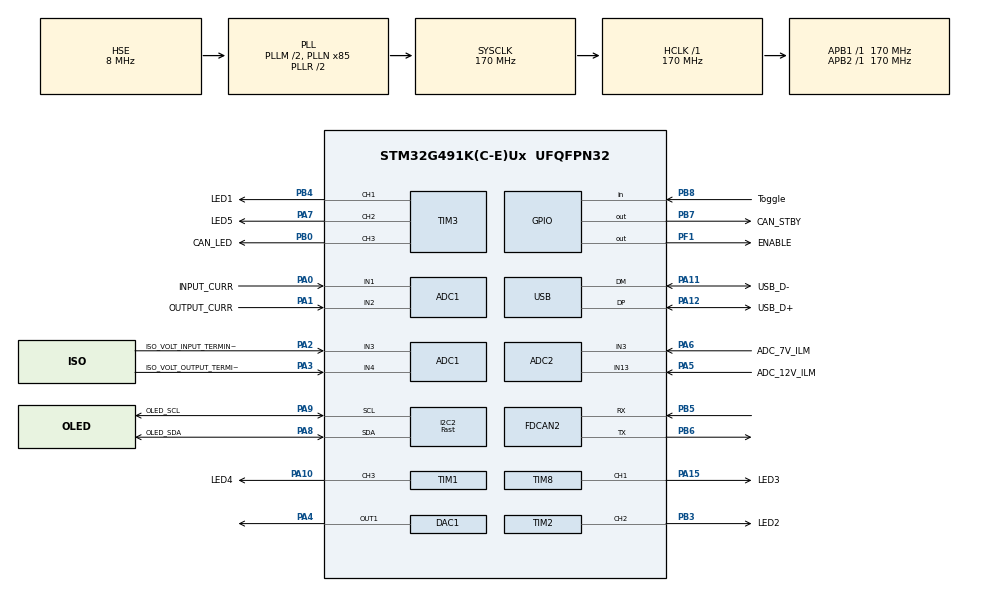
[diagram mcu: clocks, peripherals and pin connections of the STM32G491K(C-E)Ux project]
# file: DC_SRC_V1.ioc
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ADC1.Channel-2\#ChannelRegularConversion=ADC_CHANNEL_1
ADC1.Channel-3\#ChannelRegularConversion=ADC_CHANNEL_2
ADC1.Channel-4\#ChannelRegularConversion=ADC_CHANNEL_3
ADC1.Channel-5\#ChannelRegularConversion=ADC_CHANNEL_4
ADC1.ClockPrescaler=ADC_CLOCK_ASYNC_DIV64
ADC1.ContinuousConvMode=ENABLE
ADC1.DMAContinuousRequests=ENABLE
ADC1.EOCSelection=ADC_EOC_SEQ_CONV
ADC1.NbrOfConversion=4
ADC1.NbrOfConversionFlag=1
ADC1.OffsetNumber-2\#ChannelRegularConversion=ADC_OFFSET_NONE
ADC1.OffsetNumber-3\#ChannelRegularConversion=ADC_OFFSET_NONE
ADC1.OffsetNumber-4\#ChannelRegularConversion=ADC_OFFSET_NONE
ADC1.OffsetNumber-5\#ChannelRegularConversion=ADC_OFFSET_NONE
ADC1.Overrun=ADC_OVR_DATA_OVERWRITTEN
ADC1.Rank-2\#ChannelRegularConversion=1
ADC1.Rank-3\#ChannelRegularConversion=2
ADC1.Rank-4\#ChannelRegularConversion=3
ADC1.Rank-5\#ChannelRegularConversion=4
ADC1.SamplingTime-2\#ChannelRegularConversion=ADC_SAMPLETIME_2CYCLES_5
ADC1.SamplingTime-3\#ChannelRegularConversion=ADC_SAMPLETIME_2CYCLES_5
ADC1.SamplingTime-4\#ChannelRegularConversion=ADC_SAMPLETIME_2CYCLES_5
ADC1.SamplingTime-5\#ChannelRegularConversion=ADC_SAMPLETIME_2CYCLES_5
ADC1.master=1
ADC2.Channel-1\#ChannelRegularConversion=ADC_CHANNEL_3
ADC2.Channel-2\#ChannelRegularConversion=ADC_CHANNEL_13
ADC2.ClockPrescaler=ADC_CLOCK_ASYNC_DIV64
ADC2.ContinuousConvMode=ENABLE
ADC2.DMAContinuousRequests=ENABLE
ADC2.NbrOfConversion=2
ADC2.NbrOfConversionFlag=1
ADC2.OffsetNumber-1\#ChannelRegularConversion=ADC_OFFSET_NONE
ADC2.OffsetNumber-2\#ChannelRegularConversion=ADC_OFFSET_NONE
ADC2.Rank-1\#ChannelRegularConversion=1
ADC2.Rank-2\#ChannelRegularConversion=2
ADC2.SamplingTime-1\#ChannelRegularConversion=ADC_SAMPLETIME_24CYCLES_5
ADC2.SamplingTime-2\#ChannelRegularConversion=ADC_SAMPLETIME_24CYCLES_5
Dma.ADC1.0.Direction=DMA_PERIPH_TO_MEMORY
Dma.ADC1.0.EventEnable=DISABLE
Dma.ADC1.0.Instance=DMA1_Channel1
Dma.ADC1.0.MemDataAlignment=DMA_MDATAALIGN_WORD
Dma.ADC1.0.MemInc=DMA_MINC_ENABLE
Dma.ADC1.0.Mode=DMA_CIRCULAR
Dma.ADC1.0.PeriphDataAlignment=DMA_PDATAALIGN_WORD
Dma.ADC1.0.PeriphInc=DMA_PINC_DISABLE
Dma.ADC1.0.Polarity=HAL_DMAMUX_REQ_GEN_RISING
Dma.ADC1.0.Priority=DMA_PRIORITY_LOW
Dma.ADC1.0.RequestNumber=1
Dma.ADC1.0.SignalID=NONE
Dma.ADC1.0.SyncEnable=DISABLE
Dma.ADC1.0.SyncPolarity=HAL_DMAMUX_SYNC_NO_EVENT
Dma.ADC1.0.SyncRequestNumber=1
Dma.ADC1.0.SyncSignalID=NONE
Dma.ADC2.1.Direction=DMA_PERIPH_TO_MEMORY
Dma.ADC2.1.EventEnable=DISABLE
Dma.ADC2.1.Instance=DMA1_Channel2
Dma.ADC2.1.MemDataAlignment=DMA_MDATAALIGN_WORD
Dma.ADC2.1.MemInc=DMA_MINC_ENABLE
Dma.ADC2.1.Mode=DMA_CIRCULAR
Dma.ADC2.1.PeriphDataAlignment=DMA_PDATAALIGN_HALFWORD
Dma.ADC2.1.PeriphInc=DMA_PINC_DISABLE
Dma.ADC2.1.Polarity=HAL_DMAMUX_REQ_GEN_RISING
Dma.ADC2.1.Priority=DMA_PRIORITY_LOW
Dma.ADC2.1.RequestNumber=1
Dma.ADC2.1.SignalID=NONE
Dma.ADC2.1.SyncEnable=DISABLE
Dma.ADC2.1.SyncPolarity=HAL_DMAMUX_SYNC_NO_EVENT
Dma.ADC2.1.SyncRequestNumber=1
Dma.ADC2.1.SyncSignalID=NONE
Dma.I2C2_TX.2.Direction=DMA_MEMORY_TO_PERIPH
Dma.I2C2_TX.2.EventEnable=DISABLE
Dma.I2C2_TX.2.Instance=DMA1_Channel3
Dma.I2C2_TX.2.MemDataAlignment=DMA_MDATAALIGN_BYTE
Dma.I2C2_TX.2.MemInc=DMA_MINC_ENABLE
Dma.I2C2_TX.2.Mode=DMA_CIRCULAR
Dma.I2C2_TX.2.PeriphDataAlignment=DMA_PDATAALIGN_BYTE
Dma.I2C2_TX.2.PeriphInc=DMA_PINC_DISABLE
Dma.I2C2_TX.2.Polarity=HAL_DMAMUX_REQ_GEN_RISING
Dma.I2C2_TX.2.Priority=DMA_PRIORITY_LOW
Dma.I2C2_TX.2.RequestNumber=1
Dma.I2C2_TX.2.SignalID=NONE
Dma.I2C2_TX.2.SyncEnable=DISABLE
Dma.I2C2_TX.2.SyncPolarity=HAL_DMAMUX_SYNC_NO_EVENT
Dma.I2C2_TX.2.SyncRequestNumber=1
Dma.I2C2_TX.2.SyncSignalID=NONE
Dma.Request0=ADC1
Dma.Request1=ADC2
Dma.Request2=I2C2_TX
FDCAN2.AutoRetransmission=ENABLE
FDCAN2.CalculateBaudRateNominal=1000000
FDCAN2.CalculateTimeBitNominal=1000
FDCAN2.CalculateTimeQuantumNominal=125.0
FDCAN2.DataTimeSeg2=2
FDCAN2.FrameFormat=FDCAN_FRAME_FD_BRS
FDCAN2.Mode=FDCAN_MODE_EXTERNAL_LOOPBACK
FDCAN2.NominalPrescaler=1
FDCAN2.NominalSyncJumpWidth=2
FDCAN2.NominalTimeSeg1=5
FDCAN2.NominalTimeSeg2=2
FDCAN2.StdFiltersNbr=1
FREERTOS.Queues01=canQueueRxHeader,512,uint32_t,0,Static,canQueueRxHeaderBuffer,canQueueRxHeaderControlBlock;canQueueRxData,512,uint8_t,0,Static,canQueueRxDataBuffer,canQueueRxDataControlBlock
FREERTOS.Tasks01=defaultTask,24,512,StartDefaultTask,Default,NULL,Static,defaultTaskBuffer,defaultTaskControlBlock;canSendMsg,24,512,StartCanSend,Default,NULL,Static,canSendMsgBuffer,canSendMsgControlBlock;canRecieveMsg,24,512,StartRecieveMsg,Default,NULL,Static,canRecieveMsgBuffer,canRecieveMsgControlBlock;adcConvTask,24,512,StartAdcConv,Default,NULL,Static,adcConvTaskBuffer,adcConvTaskControlBlock;ScreenPrintTask,24,512,startScreenPrint,Default,NULL,Static,ScreenPrintHandBuffer,ScreenPrintHandControlBlock;TRKPinTask,24,512,StartTRKPin,Default,NULL,Static,TRKPinTaskBuffer,TRKPinTaskControlBlock;StatusLEDHandle,24,512,StartStatusLED,Default,NULL,Static,StatusLEDHandleBuffer,StatusLEDHandleControlBlock
FREERTOS.configENABLE_FPU=1
FREERTOS.configUSE_NEWLIB_REENTRANT=1
I2C2.CustomTiming=Disabled
I2C2.I2C_Speed_Mode=I2C_Fast
I2C2.Timing=0x40621236
Mcu.Family=STM32G4
Mcu.Name=STM32G491K(C-E)Ux
Mcu.Package=UFQFPN32
NVIC.FDCAN2_IT0_IRQn=true\:5\:0\:false\:false\:true\:true\:true\:true\:true
NVIC.FDCAN2_IT1_IRQn=true\:5\:0\:false\:false\:true\:true\:true\:true\:true
NVIC.PriorityGroup=NVIC_PRIORITYGROUP_4
NVIC.TIM20_UP_IRQn=true\:15\:0\:false\:false\:true\:false\:false\:true\:true
NVIC.TimeBase=TIM20_UP_IRQn
NVIC.TimeBaseIP=TIM20
NVIC.USB_LP_IRQn=true\:5\:0\:false\:false\:true\:true\:false\:true\:true
PA0.GPIO_Label=INPUT_CURR
PA0.Mode=IN1-Single-Ended
PA0.Signal=ADC1_IN1
PA1.GPIO_Label=OUTPUT_CURR
PA1.Mode=IN2-Single-Ended
PA1.Signal=ADC1_IN2
PA10.GPIO_Label=LED4
PA10.Signal=S_TIM1_CH3
PA11.GPIO_Label=USB_D-
PA11.Mode=Device
PA11.Signal=USB_DM
PA12.GPIO_Label=USB_D+
PA12.Mode=Device
PA12.Signal=USB_DP
PA13.Mode=Serial_Wire
PA13.Signal=SYS_JTMS-SWDIO
PA14.Mode=Serial_Wire
PA14.Signal=SYS_JTCK-SWCLK
PA15.GPIO_Label=LED3
PA15.Signal=S_TIM8_CH1
PA2.GPIO_Label=ISO_VOLT_INPUT_TERMINAL
PA2.Mode=IN3-Single-Ended
PA2.Signal=ADC1_IN3
PA3.GPIO_Label=ISO_VOLT_OUTPUT_TERMINAL
PA3.Mode=IN4-Single-Ended
PA3.Signal=ADC1_IN4
PA4.Signal=COMP_DAC11_group
PA5.GPIO_Label=ADC_12V_ILM
PA5.Mode=IN13-Single-Ended
PA5.Signal=ADC2_IN13
PA6.GPIO_Label=ADC_7V_ILM
PA6.Mode=IN3-Single-Ended
PA6.Signal=ADC2_IN3
PA7.GPIO_Label=LED5
PA7.Signal=S_TIM3_CH2
PA8.GPIO_Label=OLED_SDA
PA8.Mode=I2C
PA8.Signal=I2C2_SDA
PA9.GPIO_Label=OLED_SCL
PA9.Mode=I2C
PA9.Signal=I2C2_SCL
PB0.GPIO_Label=CAN_LED
PB0.Signal=S_TIM3_CH3
PB3.GPIO_Label=LED2
PB3.Signal=S_TIM2_CH2
PB4.GPIO_Label=LED1
PB4.Signal=S_TIM3_CH1
PB5.GPIO_PuPd=GPIO_PULLUP
PB5.Mode=FDCAN_Activate
PB5.Signal=FDCAN2_RX
PB6.Mode=FDCAN_Activate
PB6.Signal=FDCAN2_TX
PB7.GPIO_Label=CAN_STBY
PB7.Signal=GPIO_Output
PB8-BOOT0.GPIO_Label=Toggle
PB8-BOOT0.GPIO_PuPd=GPIO_PULLUP
PB8-BOOT0.Signal=GPIO_Input
PF0-OSC_IN.Mode=HSE-External-Clock-Source
PF0-OSC_IN.Signal=RCC_OSC_IN
PF1-OSC_OUT.GPIO_Label=ENABLE
PF1-OSC_OUT.Signal=GPIO_Output
ProjectManager.HeapSize=0x200
ProjectManager.StackSize=0x400
ProjectManager.TargetToolchain=STM32CubeIDE
RCC.ADC12Freq_Value=170000000
RCC.ADC345Freq_Value=170000000
RCC.AHBFreq_Value=170000000
RCC.APB1Freq_Value=170000000
RCC.APB1TimFreq_Value=170000000
RCC.APB2Freq_Value=170000000
RCC.APB2TimFreq_Value=170000000
RCC.CortexFreq_Value=170000000
RCC.EXTERNAL_CLOCK_VALUE=12288000
RCC.FDCANCLockSelection=RCC_FDCANCLKSOURCE_HSE
RCC.HCLKFreq_Value=170000000
RCC.HSE_VALUE=8000000
RCC.HSI48_VALUE=48000000
RCC.HSI_VALUE=16000000
RCC.LSE_VALUE=32768
RCC.PLLM=RCC_PLLM_DIV2
RCC.PLLN=85
RCC.PLLSourceVirtual=RCC_PLLSOURCE_HSE
RCC.SYSCLKFreq_VALUE=170000000
RCC.SYSCLKSource=RCC_SYSCLKSOURCE_PLLCLK
RCC.VCOOutputFreq_Value=340000000
SH.COMP_DAC11_group.0=DAC1_OUT1,DAC_OUT1_ExtAndInt
SH.S_TIM1_CH3.0=TIM1_CH3,PWM Generation3 CH3
SH.S_TIM2_CH2.0=TIM2_CH2,PWM Generation2 CH2
SH.S_TIM3_CH1.0=TIM3_CH1,PWM Generation1 CH1
SH.S_TIM3_CH2.0=TIM3_CH2,PWM Generation2 CH2
SH.S_TIM3_CH3.0=TIM3_CH3,PWM Generation3 CH3
SH.S_TIM8_CH1.0=TIM8_CH1,PWM Generation1 CH1
TIM1.Channel-PWM\ Generation3\ CH3=TIM_CHANNEL_3
TIM2.Channel-PWM\ Generation2\ CH2=TIM_CHANNEL_2
TIM3.Channel-PWM\ Generation1\ CH1=TIM_CHANNEL_1
TIM3.Channel-PWM\ Generation2\ CH2=TIM_CHANNEL_2
TIM3.Channel-PWM\ Generation3\ CH3=TIM_CHANNEL_3
TIM8.Channel-PWM\ Generation1\ CH1=TIM_CHANNEL_1
USB_DEVICE.CLASS_NAME_FS=CDC
USB_DEVICE.VirtualMode=Cdc
USB_DEVICE.VirtualModeFS=Cdc_FS
VP_FREERTOS_VS_CMSIS_V2.Mode=CMSIS_V2
VP_SYS_VS_DBSignals.Mode=DisableDeadBatterySignals
VP_SYS_VS_tim20.Mode=TIM20
VP_USB_DEVICE_VS_USB_DEVICE_CDC_FS.Mode=CDC_FS
board=custom

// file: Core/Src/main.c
/* USER CODE BEGIN Header */
/**
  ******************************************************************************
  * @file           : main.c
  * @brief          : Main program body
  ******************************************************************************
  * @attention
  *
  * Copyright (c) 2025 STMicroelectronics.
  * All rights reserved.
  *
  * This software is licensed under terms that can be found in the LICENSE file
  * in the root directory of this software component.
  * If no LICENSE file comes with this software, it is provided AS-IS.
  *
  ******************************************************************************
  */
/* USER CODE END Header */
#include "main.h"
#include "cmsis_os.h"
#include "adc.h"
#include "dac.h"
#include "dma.h"
#include "fdcan.h"
#include "i2c.h"
#include "tim.h"
#include "usb_device.h"
#include "gpio.h"

void SystemClock_Config(void);
void MX_FREERTOS_Init(void);

int main(void)
{

  /* MCU Configuration--------------------------------------------------------*/

  /* Reset of all peripherals, Initializes the Flash interface and the Systick. */
  HAL_Init();

  /* Configure the system clock */
  SystemClock_Config();

  /* Initialize all configured peripherals */
  MX_GPIO_Init();
  MX_DMA_Init();
  MX_FDCAN2_Init();
  MX_ADC1_Init();
  MX_ADC2_Init();
  MX_I2C2_Init();
  MX_DAC1_Init();
  MX_TIM1_Init();
  MX_TIM3_Init();
  MX_TIM8_Init();
  MX_TIM2_Init();

  /* Init scheduler */
  osKernelInitialize();

  /* Call init function for freertos objects (in cmsis_os2.c) */
  MX_FREERTOS_Init();

  /* Start scheduler */
  osKernelStart();

  /* We should never get here as control is now taken by the scheduler */

  /* Infinite loop */
  while (1)
  {

  }
}

void SystemClock_Config(void)
{
  RCC_OscInitTypeDef RCC_OscInitStruct = {0};
  RCC_ClkInitTypeDef RCC_ClkInitStruct = {0};

  /** Configure the main internal regulator output voltage
  */
  HAL_PWREx_ControlVoltageScaling(PWR_REGULATOR_VOLTAGE_SCALE1_BOOST);

  /** Initializes the RCC Oscillators according to the specified parameters
  * in the RCC_OscInitTypeDef structure.
  */
  RCC_OscInitStruct.OscillatorType = RCC_OSCILLATORTYPE_HSI48|RCC_OSCILLATORTYPE_HSE;
  RCC_OscInitStruct.HSEState = RCC_HSE_BYPASS;
  RCC_OscInitStruct.HSI48State = RCC_HSI48_ON;
  RCC_OscInitStruct.PLL.PLLState = RCC_PLL_ON;
  RCC_OscInitStruct.PLL.PLLSource = RCC_PLLSOURCE_HSE;
  RCC_OscInitStruct.PLL.PLLM = RCC_PLLM_DIV2;
  RCC_OscInitStruct.PLL.PLLN = 85;
  RCC_OscInitStruct.PLL.PLLP = RCC_PLLP_DIV2;
  RCC_OscInitStruct.PLL.PLLQ = RCC_PLLQ_DIV2;
  RCC_OscInitStruct.PLL.PLLR = RCC_PLLR_DIV2;
  if (HAL_RCC_OscConfig(&RCC_OscInitStruct) != HAL_OK)
  {
    Error_Handler();
  }

  /** Initializes the CPU, AHB and APB buses clocks
  */
  RCC_ClkInitStruct.ClockType = RCC_CLOCKTYPE_HCLK|RCC_CLOCKTYPE_SYSCLK
                              |RCC_CLOCKTYPE_PCLK1|RCC_CLOCKTYPE_PCLK2;
  RCC_ClkInitStruct.SYSCLKSource = RCC_SYSCLKSOURCE_PLLCLK;
  RCC_ClkInitStruct.AHBCLKDivider = RCC_SYSCLK_DIV1;
  RCC_ClkInitStruct.APB1CLKDivider = RCC_HCLK_DIV1;
  RCC_ClkInitStruct.APB2CLKDivider = RCC_HCLK_DIV1;

  if (HAL_RCC_ClockConfig(&RCC_ClkInitStruct, FLASH_LATENCY_4) != HAL_OK)
  {
    Error_Handler();
  }
}

void HAL_TIM_PeriodElapsedCallback(TIM_HandleTypeDef *htim)
{
  if (htim->Instance == TIM20) {
    HAL_IncTick();
  }
}

void Error_Handler(void)
{
  __disable_irq();
  while (1)
  {
  }
}

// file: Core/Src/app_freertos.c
/* USER CODE BEGIN Header */
/**
 ******************************************************************************
 * File Name          : app_freertos.c
 * Description        : Code for freertos applications
 ******************************************************************************
 * @attention
 *
 * Copyright (c) 2025 STMicroelectronics.
 * All rights reserved.
 *
 * This software is licensed under terms that can be found in the LICENSE file
 * in the root directory of this software component.
 * If no LICENSE file comes with this software, it is provided AS-IS.
 *
 ******************************************************************************
 */
/* USER CODE END Header */

#include "FreeRTOS.h"
#include "task.h"
#include "main.h"
#include "cmsis_os.h"

/* USER CODE BEGIN Includes */
#include "ssd1306.h"
#include "ssd1306_tests.h"
#include "ssd1306_fonts.h"
#include <string.h>
#include <stdbool.h>
#include "adc.h"
#include "dac.h"
#include <math.h>
#include "usb_device.h"  // Add this line to include the USB device header
#include "usbd_cdc_if.h" // Add this line to include the USB device header
#include "ecocar_can.h"
#include "fdcan.h"
#include "tim.h"

/* USER CODE END Includes */

typedef StaticTask_t osStaticThreadDef_t;
typedef StaticQueue_t osStaticMessageQDef_t;
/* USER CODE BEGIN PTD */
typedef struct {
	float current[4];
	float voltage[2];
} boostData_t;

/* USER CODE END PTD */

/* USER CODE BEGIN PM */
#define SET_BRIGHTNESS(x) (uint32_t)(65535 * x / 100)
/* USER CODE END PM */

/* USER CODE BEGIN Variables */
FDCAN_BOOSTPack_t boost_data = { 0 };
FDCAN_BOOSTPack2_t boost_data2 = { 0 };

static uint8_t voltage_reached = 0;  // Flag to track first detection
bool lock_state = false;

float SET_VOLT = 47;
float actual_voltage = 48;
float button_time = 0;

float effiency;
const float VOLT_MCU = 3.283;

float en_pin = 0;

uint32_t ADC1_VALUE[4];
uint32_t ADC2_VALUE[2];

char ScreenBuffer[2048];
#define ADC_BUFFER_SIZE 50

/* USER CODE END Variables */
/* Definitions for defaultTask */
osThreadId_t defaultTaskHandle;
uint32_t defaultTaskBuffer[ 512 ];
osStaticThreadDef_t defaultTaskControlBlock;
const osThreadAttr_t defaultTask_attributes = {
  .name = "defaultTask",
  .stack_mem = &defaultTaskBuffer[0],
  .stack_size = sizeof(defaultTaskBuffer),
  .cb_mem = &defaultTaskControlBlock,
  .cb_size = sizeof(defaultTaskControlBlock),
  .priority = (osPriority_t) osPriorityNormal,
};
/* Definitions for canSendMsg */
osThreadId_t canSendMsgHandle;
uint32_t canSendMsgBuffer[ 512 ];
osStaticThreadDef_t canSendMsgControlBlock;
const osThreadAttr_t canSendMsg_attributes = {
  .name = "canSendMsg",
  .stack_mem = &canSendMsgBuffer[0],
  .stack_size = sizeof(canSendMsgBuffer),
  .cb_mem = &canSendMsgControlBlock,
  .cb_size = sizeof(canSendMsgControlBlock),
  .priority = (osPriority_t) osPriorityNormal1,
};
/* Definitions for canRecieveMsg */
osThreadId_t canRecieveMsgHandle;
uint32_t canRecieveMsgBuffer[ 512 ];
osStaticThreadDef_t canRecieveMsgControlBlock;
const osThreadAttr_t canRecieveMsg_attributes = {
  .name = "canRecieveMsg",
  .stack_mem = &canRecieveMsgBuffer[0],
  .stack_size = sizeof(canRecieveMsgBuffer),
  .cb_mem = &canRecieveMsgControlBlock,
  .cb_size = sizeof(canRecieveMsgControlBlock),
  .priority = (osPriority_t) osPriorityNormal2,
};
/* Definitions for adcConvTask */
osThreadId_t adcConvTaskHandle;
uint32_t adcConvTaskBuffer[ 512 ];
osStaticThreadDef_t adcConvTaskControlBlock;
const osThreadAttr_t adcConvTask_attributes = {
  .name = "adcConvTask",
  .stack_mem = &adcConvTaskBuffer[0],
  .stack_size = sizeof(adcConvTaskBuffer),
  .cb_mem = &adcConvTaskControlBlock,
  .cb_size = sizeof(adcConvTaskControlBlock),
  .priority = (osPriority_t) osPriorityNormal3,
};
/* Definitions for ScreenPrintTask */
osThreadId_t ScreenPrintTaskHandle;
uint32_t ScreenPrintHandBuffer[ 512 ];
osStaticThreadDef_t ScreenPrintHandControlBlock;
const osThreadAttr_t ScreenPrintTask_attributes = {
  .name = "ScreenPrintTask",
  .stack_mem = &ScreenPrintHandBuffer[0],
  .stack_size = sizeof(ScreenPrintHandBuffer),
  .cb_mem = &ScreenPrintHandControlBlock,
  .cb_size = sizeof(ScreenPrintHandControlBlock),
  .priority = (osPriority_t) osPriorityNormal4,
};
/* Definitions for TRKPinTask */
osThreadId_t TRKPinTaskHandle;
uint32_t TRKPinTaskBuffer[ 512 ];
osStaticThreadDef_t TRKPinTaskControlBlock;
const osThreadAttr_t TRKPinTask_attributes = {
  .name = "TRKPinTask",
  .stack_mem = &TRKPinTaskBuffer[0],
  .stack_size = sizeof(TRKPinTaskBuffer),
  .cb_mem = &TRKPinTaskControlBlock,
  .cb_size = sizeof(TRKPinTaskControlBlock),
  .priority = (osPriority_t) osPriorityNormal5,
};
/* Definitions for StatusLEDHandle */
osThreadId_t StatusLEDHandleHandle;
uint32_t StatusLEDHandleBuffer[ 512 ];
osStaticThreadDef_t StatusLEDHandleControlBlock;
const osThreadAttr_t StatusLEDHandle_attributes = {
  .name = "StatusLEDHandle",
  .stack_mem = &StatusLEDHandleBuffer[0],
  .stack_size = sizeof(StatusLEDHandleBuffer),
  .cb_mem = &StatusLEDHandleControlBlock,
  .cb_size = sizeof(StatusLEDHandleControlBlock),
  .priority = (osPriority_t) osPriorityNormal6,
};
/* Definitions for canQueueRxHeader */
osMessageQueueId_t canQueueRxHeaderHandle;
uint8_t canQueueRxHeaderBuffer[ 512 * sizeof( uint32_t ) ];
osStaticMessageQDef_t canQueueRxHeaderControlBlock;
const osMessageQueueAttr_t canQueueRxHeader_attributes = {
  .name = "canQueueRxHeader",
  .cb_mem = &canQueueRxHeaderControlBlock,
  .cb_size = sizeof(canQueueRxHeaderControlBlock),
  .mq_mem = &canQueueRxHeaderBuffer,
  .mq_size = sizeof(canQueueRxHeaderBuffer)
};
/* Definitions for canQueueRxData */
osMessageQueueId_t canQueueRxDataHandle;
uint8_t canQueueRxDataBuffer[ 512 * sizeof( uint8_t ) ];
osStaticMessageQDef_t canQueueRxDataControlBlock;
const osMessageQueueAttr_t canQueueRxData_attributes = {
  .name = "canQueueRxData",
  .cb_mem = &canQueueRxDataControlBlock,
  .cb_size = sizeof(canQueueRxDataControlBlock),
  .mq_mem = &canQueueRxDataBuffer,
  .mq_size = sizeof(canQueueRxDataBuffer)
};

/* USER CODE BEGIN FunctionPrototypes */
void HAL_FDCAN_RxFifo0Callback(FDCAN_HandleTypeDef *hfdcan, uint32_t RxFifo0ITs) {
	FDCAN_RxHeaderTypeDef RxHeader;
	uint8_t RxData[64];
	if ((RxFifo0ITs & FDCAN_IT_RX_FIFO0_NEW_MESSAGE) != RESET) {
		/* Retreive Rx messages from RX FIFO0 */
		if (HAL_FDCAN_GetRxMessage(hfdcan, FDCAN_RX_FIFO0, &RxHeader, RxData)
				!= HAL_OK) {
			/* Reception Error */
			Error_Handler();
		}
		if (HAL_FDCAN_ActivateNotification(hfdcan,
		FDCAN_IT_RX_FIFO0_NEW_MESSAGE, 0) != HAL_OK) {
			/* Notification Error */
			Error_Handler();
		}
		osMessageQueuePut(canQueueRxHeaderHandle, &RxHeader.Identifier, 0, 0);
		osMessageQueuePut(canQueueRxHeaderHandle, &RxHeader.DataLength, 0, 0);
		for (uint32_t i = 0; i < mapDlcToBytes(RxHeader.DataLength); i++) {
			osMessageQueuePut(canQueueRxDataHandle, &RxData[i], 0, 0);
		}
	}
}
/* USER CODE END FunctionPrototypes */

void StartDefaultTask(void *argument);
void StartCanSend(void *argument);
void StartRecieveMsg(void *argument);
void StartAdcConv(void *argument);
void startScreenPrint(void *argument);
void StartTRKPin(void *argument);
void StartStatusLED(void *argument);

void MX_FREERTOS_Init(void); /* (MISRA C 2004 rule 8.1) */

void MX_FREERTOS_Init(void) {
  /* USER CODE BEGIN Init */
  HAL_TIM_PWM_Start(&htim3, TIM_CHANNEL_1); // LED1
  HAL_TIM_PWM_Start(&htim2, TIM_CHANNEL_2); // LED2
  HAL_TIM_PWM_Start(&htim8, TIM_CHANNEL_1); // LED3
  HAL_TIM_PWM_Start(&htim1, TIM_CHANNEL_3); // LED4
  HAL_TIM_PWM_Start(&htim3, TIM_CHANNEL_2); // LED5
  HAL_TIM_PWM_Start(&htim3, TIM_CHANNEL_3); // CAN LED
  /* USER CODE END Init */

  /* Create the queue(s) */
  /* creation of canQueueRxHeader */
  canQueueRxHeaderHandle = osMessageQueueNew (512, sizeof(uint32_t), &canQueueRxHeader_attributes);

  /* creation of canQueueRxData */
  canQueueRxDataHandle = osMessageQueueNew (512, sizeof(uint8_t), &canQueueRxData_attributes);

  /* Create the thread(s) */
  /* creation of defaultTask */
  defaultTaskHandle = osThreadNew(StartDefaultTask, NULL, &defaultTask_attributes);

  /* creation of canSendMsg */
  canSendMsgHandle = osThreadNew(StartCanSend, NULL, &canSendMsg_attributes);

  /* creation of canRecieveMsg */
  canRecieveMsgHandle = osThreadNew(StartRecieveMsg, NULL, &canRecieveMsg_attributes);

  /* creation of adcConvTask */
  adcConvTaskHandle = osThreadNew(StartAdcConv, NULL, &adcConvTask_attributes);

  /* creation of ScreenPrintTask */
  ScreenPrintTaskHandle = osThreadNew(startScreenPrint, NULL, &ScreenPrintTask_attributes);

  /* creation of TRKPinTask */
  TRKPinTaskHandle = osThreadNew(StartTRKPin, NULL, &TRKPinTask_attributes);

  /* creation of StatusLEDHandle */
  StatusLEDHandleHandle = osThreadNew(StartStatusLED, NULL, &StatusLEDHandle_attributes);

}

void StartDefaultTask(void *argument)
{
  /* init code for USB_Device */
  MX_USB_Device_Init();
  /* USER CODE BEGIN StartDefaultTask */
	/* Infinite loop */
	for (;;) {

		// Incraese the set output voltage using the push button. Since it is connected to the BOOT0 Pin, will need to push this button with the NRST button each time when flashing
		if (HAL_GPIO_ReadPin(GPIOB, GPIO_PIN_8) == GPIO_PIN_RESET) {
			button_time = osKernelGetTickCount(); //could try osKernelGetTickCount() instead
			SET_VOLT ++;

			if (SET_VOLT > 55 || SET_VOLT < 15) {
				SET_VOLT = roundf(boost_data.in_volt / FDCAN_FOUR_FLT_PREC + 3);
				if (SET_VOLT < 15) {
					SET_VOLT = 15;
				}
			}
		}

		if (osKernelGetTickCount() - button_time >= 1500) {
			actual_voltage = SET_VOLT;
		}

		if ((float) boost_data.in_volt / FDCAN_FOUR_FLT_PREC > 1.5) {
			if (voltage_reached == 0) {
				HAL_GPIO_WritePin(GPIOF, ENABLE_Pin, GPIO_PIN_RESET); // Ensure it's OFF before delay
				HAL_Delay(2000);
				HAL_GPIO_WritePin(GPIOF, ENABLE_Pin, GPIO_PIN_SET); // Turn ON after delay
				voltage_reached = 1;  // Set flag to avoid repeated delays
			} else {
				HAL_GPIO_WritePin(GPIOF, ENABLE_Pin, GPIO_PIN_SET); // Keep it ON
			}
		} else {
			HAL_GPIO_WritePin(GPIOF, ENABLE_Pin, GPIO_PIN_RESET); // Turn OFF
			voltage_reached = 0;
		}

		osDelay(200);
	}
  /* USER CODE END StartDefaultTask */
}

void StartCanSend(void *argument)
{
  /* USER CODE BEGIN StartCanSend */
	UNUSED(argument);
	FDCAN_TxHeaderTypeDef localTxHeader;
	const uint8_t msg_delay = 100;

	//LED SYNC
//	uint8_t can_sync_led = 0;
//	uint32_t sync_led_last = 0;
//	uint32_t sync_led_this = osKernelGetSysTimerCount();

	localTxHeader.IdType = FDCAN_STANDARD_ID;
	localTxHeader.TxFrameType = FDCAN_DATA_FRAME;
	localTxHeader.ErrorStateIndicator = FDCAN_ESI_ACTIVE;
	localTxHeader.BitRateSwitch = FDCAN_BRS_ON;
	localTxHeader.FDFormat = FDCAN_CLASSIC_CAN;
	localTxHeader.TxEventFifoControl = FDCAN_NO_TX_EVENTS;
	localTxHeader.MessageMarker = 0;
	/* Infinite loop */

	for (;;) {

	//Sync LEDs
	// sync_led_this = osKernelGetTickCount();
	// if (sync_led_this - sync_led_last > 500) {
	// 	sync_led_last = sync_led_this;
	// 	localTxHeader.Identifier = FDCAN_SYNCLED_ID;
	// 	localTxHeader.DataLength = FDCAN_DLC_BYTES_1;
	// 	can_sync_led = (can_sync_led == 0) ? 1 : 0;
	// 	if (HAL_FDCAN_GetTxFifoFreeLevel(&hfdcan2) != 0) {
	// 	if (HAL_FDCAN_AddMessageToTxFifoQ(&hfdcan2, &localTxHeader,
	// 										&can_sync_led) != HAL_OK) {
	// 		Error_Handler();
	// 		}

	// 	}
	// }

		// Transmit boost data
		localTxHeader.Identifier = FDCAN_BOOSTPACK_ID;
		localTxHeader.DataLength = FDCAN_DLC_BYTES_8;
		if (HAL_FDCAN_GetTxFifoFreeLevel(&hfdcan2) != 0) {
			if (HAL_FDCAN_AddMessageToTxFifoQ(&hfdcan2, &localTxHeader,
					(uint8_t*) &boost_data.FDCAN_RawBOOSTPack) != HAL_OK) {
				Error_Handler();
			}
		} //else {
		  //log_warn("Tx Buffer Full");
		  //}

		localTxHeader.Identifier = FDCAN_BOOSTPACK2_ID;
		localTxHeader.DataLength = FDCAN_DLC_BYTES_8;
		if (HAL_FDCAN_GetTxFifoFreeLevel(&hfdcan2) != 0) {
			if (HAL_FDCAN_AddMessageToTxFifoQ(&hfdcan2, &localTxHeader,
					(uint8_t*) &boost_data2.FDCAN_RawBOOSTPack2) != HAL_OK) {
				Error_Handler();
			}
		} //else {
		  //log_warn("Tx Buffer Full");
		  //}

		osDelay(msg_delay);
		}

  /* USER CODE END StartCanSend */
}

void StartRecieveMsg(void *argument)
{
  /* USER CODE BEGIN StartRecieveMsg */
	/* Infinite loop */
	UNUSED(argument);
	FDCAN_RxHeaderTypeDef localRxHeader = { 0 };
	uint8_t ret[64] = { 0 };
	/* Infinite loop */
	HAL_GPIO_WritePin(GPIOB, CAN_STBY_Pin, GPIO_PIN_RESET);
	for (;;) {

		if (osMessageQueueGet(canQueueRxHeaderHandle, &localRxHeader.Identifier,
				0,
				osWaitForever) == osOK) {
			if (osMessageQueueGet(canQueueRxHeaderHandle,
					&localRxHeader.DataLength, 0, 0) != osOK) {
				Error_Handler();
			}
			for (uint8_t i = 0; i < mapDlcToBytes(localRxHeader.DataLength);
					i++) {
				if (osMessageQueueGet(canQueueRxDataHandle, &ret[i], 0, 0)
						!= osOK) {
					Error_Handler();
				}
			}

			switch (localRxHeader.Identifier) {
			case FDCAN_H2ALARM_ID:
				// H2 ALARM
				if (ret[0] == 1) {
					lock_state = true;
				} else {
					lock_state = false;
				}
				break;

			case FDCAN_SYNCLED_ID:
				// CAN SYNC LED
				if (ret[0] == 1) {
					htim3.Instance->CCR3 = SET_BRIGHTNESS(80); // CAN LED
				} else {
					htim3.Instance->CCR3 = SET_BRIGHTNESS(0); // CAN LED
				}
				break;

			case FDCAN_BOOSTPACK_ID:
				memcpy(&boost_data.FDCAN_RawBOOSTPack, ret,
					mapDlcToBytes(localRxHeader.DataLength));
				break;

			case FDCAN_BOOSTPACK2_ID:
				memcpy(&boost_data2.FDCAN_RawBOOSTPack2, ret,
					mapDlcToBytes(localRxHeader.DataLength));
				break;

			default:
				break;
			}
		}
	}
  /* USER CODE END StartRecieveMsg */
}

void StartAdcConv(void *argument)
{
  /* USER CODE BEGIN StartAdcConv */
	UNUSED(argument);

	const float ADC_VOLT_REF = VOLT_MCU / 4096.0;
	const float CURR_TRANSFER1 = 0.666667;     // ratio of voltage divider resistors for current sense: 200k/(100k + 200k)
	const float CURR_TRANSFER2 = 0.666667;    // ratio of voltage divider resistors for current sense: 200k/(100k + 200k)
	const float VOLT_TRANSFER_IN = 0.10;     // Res. Divider: R1 = 27k, R2 = 3k
	const float VOLT_TRANSFER_OUT = 0.0503; // Res. Divider: R1 = 68k, R2 = 3.6k
	const float VOLT_TO_CURR_UNI = 0.133;  //

	static float in_curr_buffer[ADC_BUFFER_SIZE] = {0};
	static uint8_t in_curr_index = 0;

	static float out_curr_buffer[ADC_BUFFER_SIZE] = {0};
	static uint8_t out_curr_index = 0;

	HAL_ADC_Start_DMA(&hadc1, ADC1_VALUE, 4);
	HAL_ADC_Start_DMA(&hadc2, ADC2_VALUE, 2);

	/* Infinite loop */
	for (;;) {

		// Avaerages last 50 samples of the input current
		float new_in_curr = ((ADC1_VALUE[0] + 69.5) * ADC_VOLT_REF / CURR_TRANSFER1 - 0.510) / VOLT_TO_CURR_UNI * FDCAN_FOUR_FLT_PREC;
		in_curr_buffer[in_curr_index] = new_in_curr;
		in_curr_index = (in_curr_index + 1) % ADC_BUFFER_SIZE;
		float sum_in_curr = 0;
		for (uint8_t i = 0; i < ADC_BUFFER_SIZE; i++) {
			sum_in_curr += in_curr_buffer[i];
		}

		float new_out_curr = ((ADC1_VALUE[1] + 69.5) * ADC_VOLT_REF / CURR_TRANSFER2 - 0.510) / VOLT_TO_CURR_UNI * FDCAN_FOUR_FLT_PREC;
		out_curr_buffer[out_curr_index] = new_out_curr;
		out_curr_index = (out_curr_index + 1) % ADC_BUFFER_SIZE;
		float sum_out_curr = 0;
		for (uint8_t i = 0; i < ADC_BUFFER_SIZE; i++) {
			sum_out_curr += out_curr_buffer[i];
		}

		boost_data2.out_volt = (ADC1_VALUE[3] * ADC_VOLT_REF / VOLT_TRANSFER_OUT + 0.6)* FDCAN_FOUR_FLT_PREC;
		boost_data.in_volt = (ADC1_VALUE[2] * ADC_VOLT_REF / VOLT_TRANSFER_IN + 0.9)* FDCAN_FOUR_FLT_PREC;
		boost_data.in_curr = sum_in_curr / ADC_BUFFER_SIZE;
		boost_data2.out_curr = sum_out_curr / ADC_BUFFER_SIZE;

		effiency = ((float)boost_data2.out_curr / FDCAN_FOUR_FLT_PREC * (float)boost_data2.out_volt / FDCAN_FOUR_FLT_PREC) /
				   ((float)boost_data.in_curr   / FDCAN_FOUR_FLT_PREC * (float)boost_data.in_volt / FDCAN_FOUR_FLT_PREC) * 100;

		printf(
				"IN CURR: %.3f OUT CURR: %.3f IN VOLT: %.1f OUT VOLT: %.1f Efficiency: %.1f  SET VOLT: %.0f  ENABLE PIN: %0.f\r\n",
				(float)boost_data.in_curr   / FDCAN_FOUR_FLT_PREC,
				(float)boost_data2.out_curr / FDCAN_FOUR_FLT_PREC,
				(float)boost_data.in_volt   / FDCAN_FOUR_FLT_PREC,
				(float)boost_data2.out_volt / FDCAN_FOUR_FLT_PREC,
				(float)effiency,
				SET_VOLT,
				en_pin
				);

		osDelay(50);
	}
  /* USER CODE END StartAdcConv */
}

void startScreenPrint(void *argument)
{
  /* USER CODE BEGIN startScreenPrint */
	/* Infinite loop */
	ssd1306_Init();
	// Display the ecocar logo for 1.5 seconds
	ssd1306_TestDrawBitmap();
	ssd1306_UpdateScreen();
	osDelay(1000);
	ssd1306_Fill(Black);
	ssd1306_UpdateScreen();

	ssd1306_TestDrawBitmap2(); // rocket ship
	ssd1306_UpdateScreen();
	ssd1306_Fill(Black);
	ssd1306_UpdateScreen();
	for (;;) {

	// If this doesnt work, change change it back to a single ss3d1306_Fill(Black) line
//	if (SET_VOLT != actual_voltage) {
//		ssd1306_Fill(Black); // Clear the screen before updating
//		ssd1306_UpdateScreen();
//		osDelay(100);
//	} else {
//		ssd1306_Fill(Black); // Clear the screen before updating
//	}

     if (lock_state) {

		ssd1306_SetCursor(0, 20);
		sprintf(ScreenBuffer, "  H2 ALARM");
		ssd1306_WriteString(ScreenBuffer, Font_11x18, White);
		ssd1306_UpdateScreen();

	 } else {
		// Voltages
		ssd1306_SetCursor(0, 5);
		sprintf(ScreenBuffer, "Voltage(V)");
		ssd1306_WriteString(ScreenBuffer, Font_7x10, White);

		ssd1306_SetCursor(80, 5);
		sprintf(ScreenBuffer, "(%.1f)", SET_VOLT);
		ssd1306_WriteString(ScreenBuffer, Font_7x10, (SET_VOLT != actual_voltage) ? Black : White);

		ssd1306_SetCursor(0, 20);
		sprintf(ScreenBuffer, "IN:%.1f", (float) boost_data.in_volt / FDCAN_FOUR_FLT_PREC);
		ssd1306_WriteString(ScreenBuffer, Font_7x10, White);

		ssd1306_SetCursor(64, 20);
		sprintf(ScreenBuffer, "OUT:%.1f", (float)boost_data2.out_volt / FDCAN_FOUR_FLT_PREC);
		ssd1306_WriteString(ScreenBuffer, Font_7x10, White);

		// Currents
		ssd1306_SetCursor(0, 38);
		sprintf(ScreenBuffer, "Current(A) (n=%.0f%%)", effiency);
		ssd1306_WriteString(ScreenBuffer, Font_7x10, White);

		ssd1306_SetCursor(0, 50);
		sprintf(ScreenBuffer, "IN:%.2f", (float)boost_data.in_curr / FDCAN_FOUR_FLT_PREC);
		ssd1306_WriteString(ScreenBuffer, Font_7x10, White);

		ssd1306_SetCursor(64, 50);
		sprintf(ScreenBuffer, "OUT:%.2f", (float)boost_data2.out_curr / FDCAN_FOUR_FLT_PREC);
		ssd1306_WriteString(ScreenBuffer, Font_7x10, White);

		ssd1306_UpdateScreen(); // Refresh display

		}

		osDelay(200); // Slow down update rate
	}
  /* USER CODE END startScreenPrint */
}

void StartTRKPin(void *argument)
{
  /* USER CODE BEGIN StartTRKPin */
	uint32_t DAC_VALUE;
	HAL_DAC_Start(&hdac1, DAC_CHANNEL_1);

	/* Infinite loop */
	for (;;) {

	float TRK_VOLT = actual_voltage / 60; // Desired voltage output

		// Convert to DAC value
		DAC_VALUE = TRK_VOLT * 4096 / VOLT_MCU;

		// Set DAC output
		HAL_DAC_SetValue(&hdac1, DAC_CHANNEL_1, DAC_ALIGN_12B_R, DAC_VALUE);

		osDelay(1);
	}
  /* USER CODE END StartTRKPin */
}

void StartStatusLED(void *argument)
{
  /* USER CODE BEGIN StartStatusLED */
	/* Infinite loop */
	for (;;) {

		// Voltage regulation LED. If the output voltage is within 1V of the set voltage, the LED is at 100% brightness
		if ((boost_data2.out_volt / FDCAN_FOUR_FLT_PREC) < (SET_VOLT - 1) || (boost_data2.out_volt / FDCAN_FOUR_FLT_PREC) > (SET_VOLT + 1)) {

			htim8.Instance->CCR1 = SET_BRIGHTNESS(0); // change this to 0 when not regulated

		} else {
			htim8.Instance->CCR1 = SET_BRIGHTNESS(50); // change to 40 when regulated
		}

		htim1.Instance->CCR3 = SET_BRIGHTNESS(30); // LED4
		htim3.Instance->CCR2 = SET_BRIGHTNESS(90); //LED5

		// Reads the state of the enable pin and stores it in the en_pin variable. 0 is off, 1 is on
		if (HAL_GPIO_ReadPin(GPIOF, ENABLE_Pin) == GPIO_PIN_RESET) {
			en_pin = 0;
			htim3.Instance->CCR1 = SET_BRIGHTNESS(20); // LED1
			htim2.Instance->CCR2 = SET_BRIGHTNESS(0);  // LED2

		} else {
			en_pin = 1;
			htim3.Instance->CCR1 = SET_BRIGHTNESS(0);  // LED1
			htim2.Instance->CCR2 = SET_BRIGHTNESS(30); // LED2
		};

		osDelay(1);
	}
  /* USER CODE END StartStatusLED */
}
